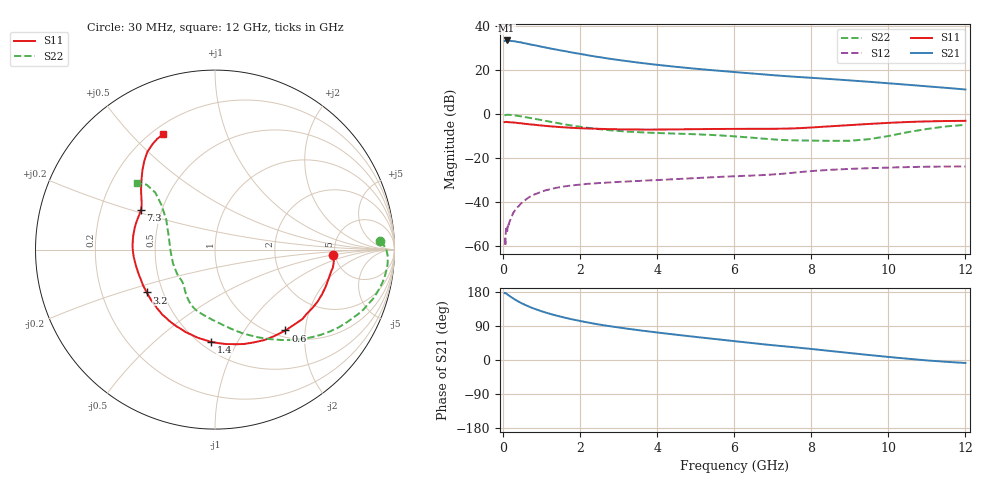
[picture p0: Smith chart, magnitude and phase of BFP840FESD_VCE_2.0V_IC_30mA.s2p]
! Infineon Technologies  Discrete & RF Semiconductors
! BFP840FESD
! VCE =  2.0 V,  IC =  30 mA
! Common Emitter S-Parameters:  May 2012
# GHz  S  MA  R  50
!  f  S11  S21  S12  S22
! GHz  MAG  ANG  MAG  ANG  MAG  ANG  MAG  ANG
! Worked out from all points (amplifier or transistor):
!   103 points, 30 MHz to 12 GHz, reference 50 ohm
!   highest |S21| = 33.5 dB at 80 MHz (marker M1)
!   |S21| within 3 dB of that: start of sweep to 1.033 GHz
!   unconditionally stable (mu >= 1): 5.351 GHz to end of sweep
!   at 400 MHz: K = 0.23, MSG = 37.2 dB, |S12| = -41.7 dB
!   at 3.7 GHz: K = 0.83, MSG = 26.6 dB, |S12| = -30.2 dB
!   at 12 GHz: K = 1.07, MAG = 15.8 dB, |S12| = -23.8 dB
!   S11 on the Smith chart (normalised r, x): 30 MHz: 4.77, -0.54; 600 MHz: 1.13, -1.58; 1.4 GHz: 0.56, -0.78; 3.2 GHz: 0.41, -0.24; 7.3 GHz: 0.38, +0.21; 12 GHz: 0.24, +0.62
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0.03  0.657 -2.8  45.68 176.6  0.0014 89.3  0.9224 2.9
0.04  0.6595 -3.7  45.98 176.1  0.0015 78.2  0.9373 1.9
0.05  0.6629 -4.7  46.46 177.0  0.001 77.8  0.9455 1.0
0.08  0.6646 -7.5  47.15 174.7  0.0021 78.1  0.9611 -1.6
0.2  0.6503 -18.7  45.9 166.1  0.0044 75.5  0.9564 -9.7
0.3  0.6408 -26.9  45.04 159.6  0.0065 75.0  0.933 -15.1
0.35  0.6324 -31.2  43.95 156.4  0.0075 72.0  0.9212 -17.5
0.45  0.6224 -38.3  42.8 150.9  0.0092 71.0  0.892 -22.0
0.6  0.5975 -48.9  40.01 143.7  0.0118 67.1  0.8439 -28.2
0.9  0.5607 -67.2  35.32 131.8  0.0161 60.3  0.7564 -38.9
1.1  0.5388 -78.2  32.47 125.1  0.0186 56.5  0.7018 -45.1
1.4  0.5142 -92.5  28.95 116.6  0.0214 51.2  0.6276 -53.4
1.8  0.4881 -109.4  24.89 106.9  0.0241 46.6  0.5469 -63.5
2.1  0.4746 -119.8  22.47 100.7  0.0256 43.9  0.5002 -70.2
2.6  0.4599 -134.3  19.03 91.8  0.0275 41.0  0.4451 -79.5
3.2  0.4489 -147.9  16.04 82.9  0.0294 39.8  0.4019 -88.8
4.1  0.4474 -164.2  12.88 71.3  0.0321 39.2  0.3699 -100.0
6.1  0.4619 168.8  8.888 48.6  0.039 39.6  0.308 -120.1
7.3  0.4681 152.0  7.332 36.1  0.0446 42.4  0.2575 -134.2
8.5  0.5294 141.1  6.257 23.7  0.0543 38.7  0.2466 -161.7
10.5  0.6622 124.7  4.645 3.4  0.0626 30.0  0.3882 140.2
12  0.7036 114.2  3.628 -7.8  0.0647 26.3  0.571 139.4
